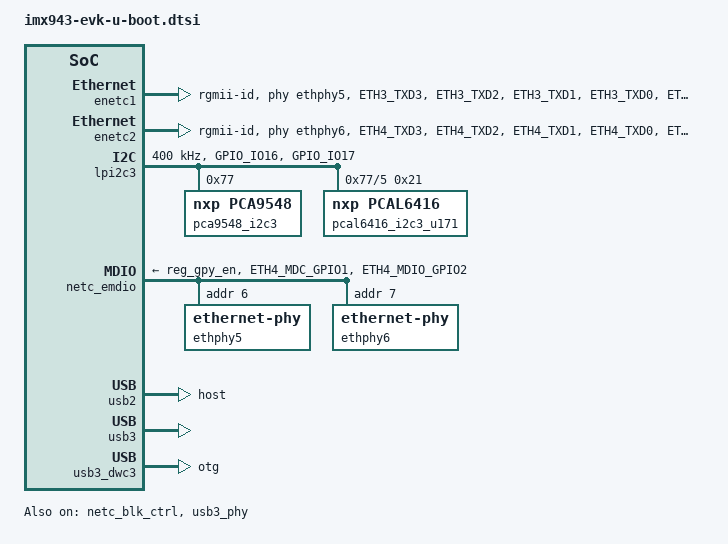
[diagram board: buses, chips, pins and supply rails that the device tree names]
// SPDX-License-Identifier: GPL-2.0+
/*
 * Copyright 2025 NXP
 */

#include "imx943-u-boot.dtsi"

&enetc1 {
	clocks = <&scmi_clk IMX94_CLK_MAC4>;
	clock-names = "enet_ref_clk";
	pinctrl-names = "default";
	pinctrl-0 = <&pinctrl_eth3>;
	phy-handle = <&ethphy5>;
	phy-mode = "rgmii-id";
	status = "okay";
};

&enetc2 {
	clocks = <&scmi_clk IMX94_CLK_MAC5>;
	clock-names = "enet_ref_clk";
	pinctrl-names = "default";
	pinctrl-0 = <&pinctrl_eth4>;
	phy-handle = <&ethphy6>;
	phy-mode = "rgmii-id";
	status = "okay";
};

&lpi2c3 {
	clock-frequency = <400000>;
	pinctrl-names = "default";
	pinctrl-0 = <&pinctrl_lpi2c3>;
	status = "okay";

	pca9548_i2c3: i2c-mux@77 {
		compatible = "nxp,pca9548";
		#address-cells = <1>;
		#size-cells = <0>;
		reg = <0x77>;

		i2c@5 {
			#address-cells = <1>;
			#size-cells = <0>;
			reg = <5>;

			pcal6416_i2c3_u171: gpio@21 {
				compatible = "nxp,pcal6416";
				reg = <0x21>;
				gpio-controller;
				#gpio-cells = <2>;

				ethphy2-on-hog {
					gpio-hog;
					gpios = <2 GPIO_ACTIVE_HIGH>;
					output-high;
				};

				ethphy3-on-hog {
					gpio-hog;
					gpios = <3 GPIO_ACTIVE_HIGH>;
					output-high;
				};

				ethphy4-on-hog {
					gpio-hog;
					gpios = <4 GPIO_ACTIVE_HIGH>;
					output-high;
				};

				lvds-en-hog {
					gpio-hog;
					gpios = <9 GPIO_ACTIVE_HIGH>;
					output-high;
				};
			};
		};
	};
};

&lpuart1 {
	bootph-pre-ram;
};

&netc_blk_ctrl {
	assigned-clocks = <&scmi_clk IMX94_CLK_MAC2>,
			  <&scmi_clk IMX94_CLK_MAC4>,
			  <&scmi_clk IMX94_CLK_MAC5>;
	assigned-clock-parents = <&scmi_clk IMX94_CLK_SYSPLL1_PFD0>,
				 <&scmi_clk IMX94_CLK_SYSPLL1_PFD0>,
				 <&scmi_clk IMX94_CLK_SYSPLL1_PFD0>;
	assigned-clock-rates = <250000000>, <250000000>, <250000000>;
	status = "okay";
};

&netc_emdio {
	pinctrl-names = "default";
	pinctrl-0 = <&pinctrl_emdio>;
	phy-supply = <&reg_gpy_en>;
	status = "okay";

	ethphy5: ethernet-phy@6 {
		reg = <0x6>;
		realtek,clkout-disable;
	};

	ethphy6: ethernet-phy@7 {
		reg = <0x7>;
		realtek,clkout-disable;
	};
};

&reg_usdhc2_vmmc {
	bootph-pre-ram;
};

&usb2 {
	dr_mode = "host";
	hnp-disable;
	srp-disable;
	adp-disable;
	disable-over-current;
	status = "okay";
};

&usb3 {
	bootph-pre-ram;
	status = "okay";
};

&usb3_dwc3 {
	bootph-pre-ram;
	dr_mode = "otg";
	hnp-disable;
	srp-disable;
	adp-disable;
	usb-role-switch;
	role-switch-default-mode = "peripheral";
	snps,dis-u1-entry-quirk;
	snps,dis-u2-entry-quirk;
	status = "okay";
};

&usb3_phy {
	bootph-pre-ram;
	orientation-switch;
	status = "okay";
};

&usdhc1 {
	bootph-pre-ram;
};

&usdhc2 {
	bootph-pre-ram;
};

&wdog3 {
	status = "disabled";
};

&scmi_iomuxc {
	pinctrl_emdio: emdiogrp {
		fsl,pins = <
			IMX94_PAD_ETH4_MDC_GPIO1__NETC_EMDC		0x57e
			IMX94_PAD_ETH4_MDIO_GPIO2__NETC_EMDIO		0x97e
		>;
	};

	pinctrl_eth3: eth3grp {
		fsl,pins = <
			IMX94_PAD_ETH3_TXD3__NETC_PINMUX_ETH3_TXD3		0x57e
			IMX94_PAD_ETH3_TXD2__NETC_PINMUX_ETH3_TXD2		0x57e
			IMX94_PAD_ETH3_TXD1__NETC_PINMUX_ETH3_TXD1		0x57e
			IMX94_PAD_ETH3_TXD0__NETC_PINMUX_ETH3_TXD0		0x57e
			IMX94_PAD_ETH3_TX_CTL__NETC_PINMUX_ETH3_TX_CTL		0x57e
			IMX94_PAD_ETH3_TX_CLK__NETC_PINMUX_ETH3_TX_CLK		0x5fe
			IMX94_PAD_ETH3_RX_CTL__NETC_PINMUX_ETH3_RX_CTL		0x57e
			IMX94_PAD_ETH3_RX_CLK__NETC_PINMUX_ETH3_RX_CLK		0x5fe
			IMX94_PAD_ETH3_RXD0__NETC_PINMUX_ETH3_RXD0		0x57e
			IMX94_PAD_ETH3_RXD1__NETC_PINMUX_ETH3_RXD1		0x57e
			IMX94_PAD_ETH3_RXD2__NETC_PINMUX_ETH3_RXD2		0x57e
			IMX94_PAD_ETH3_RXD3__NETC_PINMUX_ETH3_RXD3		0x57e
		>;
	};

	pinctrl_eth4: eth4grp {
		fsl,pins = <
			IMX94_PAD_ETH4_TXD3__NETC_PINMUX_ETH4_TXD3		0x57e
			IMX94_PAD_ETH4_TXD2__NETC_PINMUX_ETH4_TXD2		0x57e
			IMX94_PAD_ETH4_TXD1__NETC_PINMUX_ETH4_TXD1		0x57e
			IMX94_PAD_ETH4_TXD0__NETC_PINMUX_ETH4_TXD0		0x57e
			IMX94_PAD_ETH4_TX_CTL__NETC_PINMUX_ETH4_TX_CTL		0x57e
			IMX94_PAD_ETH4_TX_CLK__NETC_PINMUX_ETH4_TX_CLK		0x5fe
			IMX94_PAD_ETH4_RX_CTL__NETC_PINMUX_ETH4_RX_CTL		0x57e
			IMX94_PAD_ETH4_RX_CLK__NETC_PINMUX_ETH4_RX_CLK		0x5fe
			IMX94_PAD_ETH4_RXD0__NETC_PINMUX_ETH4_RXD0		0x57e
			IMX94_PAD_ETH4_RXD1__NETC_PINMUX_ETH4_RXD1		0x57e
			IMX94_PAD_ETH4_RXD2__NETC_PINMUX_ETH4_RXD2		0x57e
			IMX94_PAD_ETH4_RXD3__NETC_PINMUX_ETH4_RXD3		0x57e
		>;
	};

	pinctrl_lpi2c3: lpi2c3grp {
		fsl,pins = <
			IMX94_PAD_GPIO_IO16__LPI2C3_SDA		0x40000b9e
			IMX94_PAD_GPIO_IO17__LPI2C3_SCL		0x40000b9e
		>;
	};
};

&pinctrl_reg_usdhc2_vmmc {
	bootph-pre-ram;
};

&pinctrl_uart1 {
	bootph-pre-ram;
};

&pinctrl_usdhc1 {
	bootph-pre-ram;
};

&pinctrl_usdhc1_100mhz {
	bootph-pre-ram;
};

&pinctrl_usdhc1_200mhz {
	bootph-pre-ram;
};

&pinctrl_usdhc2 {
	bootph-pre-ram;
};

&pinctrl_usdhc2_100mhz {
	bootph-pre-ram;
};

&pinctrl_usdhc2_200mhz {
	bootph-pre-ram;
};

&pinctrl_usdhc2_gpio {
	bootph-pre-ram;
};
